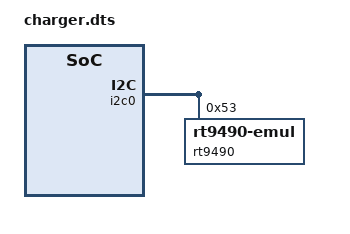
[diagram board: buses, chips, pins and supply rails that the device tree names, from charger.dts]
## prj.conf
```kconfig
# Copyright 2022 The ChromiumOS Authors.
# Use of this source code is governed by a BSD-style license that can be
# found in the LICENSE file.

CONFIG_EMUL_RT9490=y
CONFIG_PLATFORM_EC_BC12_SINGLE_DRIVER=n
CONFIG_PLATFORM_EC_CHARGER_OTG=y
CONFIG_PLATFORM_EC_CHARGER_RT9490=y
CONFIG_PLATFORM_EC_CHARGE_RAMP_HW=y
CONFIG_PLATFORM_EC_CONSOLE_CMD_CHARGER_DUMP=y
CONFIG_PLATFORM_EC_HOOKS=y
```

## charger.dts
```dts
/ {
	usbc {
		/delete-node/ port0@0;

		port0@0 {
			compatible = "named-usbc-port";
			status = "okay";
			reg = <0>;
			chg = <&rt9490>;
			bc12 = <&rt9490_bc12>;
			tcpc = <&tcpci_emul>;
		};
	};

	rt9490_bc12: rt9490-bc12 {
		compatible = "richtek,rt9490-bc12";
		status = "okay";
	};
};

&i2c0 {
	status="okay";

	rt9490: rt9490@53 {
		compatible = "zephyr,rt9490-emul";
		status = "okay";
		reg = <0x53>;
	};
};
```

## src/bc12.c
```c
/* Copyright 2022 The ChromiumOS Authors
 * Use of this source code is governed by a BSD-style license that can be
 * found in the LICENSE file.
 */

#include <zephyr/ztest.h>
#include <zephyr/fff.h>

#include "charger.h"
#include "charge_manager.h"
#include "driver/charger/rt9490.h"
#include "driver/tcpm/tcpci.h"
#include "emul/emul_rt9490.h"
#include "emul/tcpc/emul_tcpci.h"
#include "i2c.h"
#include "test/drivers/test_state.h"
#include "timer.h"
#include "usb_charge.h"

FAKE_VALUE_FUNC(int, board_tcpc_post_init, int);

static const struct emul *emul = EMUL_DT_GET(DT_NODELABEL(rt9490));
static const struct emul *tcpci_emul = EMUL_DT_GET(DT_NODELABEL(tcpci_emul));
static const int chgnum = CHARGER_SOLO;

static void run_bc12_test(int reg_value, enum charge_supplier expected_result)
{
	int port = 0;

	/* simulate plug, expect bc12 detection starting. */
	tcpci_emul_set_reg(tcpci_emul, TCPC_REG_POWER_STATUS,
			   TCPC_REG_POWER_STATUS_VBUS_PRES |
				   TCPC_REG_POWER_STATUS_VBUS_DET);

	/* This is the same as calling tcpc_config[port].drv->init(port) but
	 * also calls our board_tcpc_post_init_fake stub. During the init, the
	 * other tasks are also running and will at times also call the same
	 * function. So the verification just checks that the call count
	 * increased and that the first history element matches the port we
	 * provided.
	 */
	RESET_FAKE(board_tcpc_post_init);
	zassert_ok(tcpm_init(port));
	zassert_true(board_tcpc_post_init_fake.call_count > 0);
	zassert_equal(port, board_tcpc_post_init_fake.arg0_history[0]);

	zassert_true(tcpc_config[port].drv->check_vbus_level(port,
							     VBUS_PRESENT),
		     NULL);

	usb_charger_task_set_event(port, USB_CHG_EVENT_VBUS);
	msleep(1);
	zassert_true(rt9490_emul_peek_reg(emul, RT9490_REG_CHG_CTRL2) &
			     RT9490_BC12_EN,
		     NULL);

	/*
	 * simulate triggering interrupt on bc12 detection done, and verify the
	 * result.
	 */
	zassert_ok(rt9490_emul_write_reg(emul, RT9490_REG_CHG_IRQ_FLAG1,
					 RT9490_BC12_DONE_FLAG));
	zassert_ok(
		rt9490_emul_write_reg(emul, RT9490_REG_CHG_STATUS1, reg_value));
	rt9490_interrupt(port);
	/* wait for deferred task scheduled, this takes longer. */
	msleep(500);
	zassert_false(rt9490_emul_peek_reg(emul, RT9490_REG_CHG_CTRL2) &
			      RT9490_BC12_EN,
		      NULL);
	zassert_equal(charge_manager_get_supplier(), expected_result, NULL);

	/* simulate unplug */
	tcpci_emul_set_reg(tcpci_emul, TCPC_REG_POWER_STATUS,
			   TCPC_REG_POWER_STATUS_VBUS_DET);
	zassert_ok(tcpc_config[port].drv->init(port), NULL);
	zassert_false(tcpc_config[port].drv->check_vbus_level(port,
							      VBUS_PRESENT),
		      NULL);

	usb_charger_task_set_event(port, USB_CHG_EVENT_VBUS);
	msleep(1);
	zassert_equal(charge_manager_get_supplier(), CHARGE_SUPPLIER_NONE,
		      NULL);
}

ZTEST(rt9490_bc12, test_detection_flow)
{
	int port = 0;

	/* make charge manager thinks port 0 is chargable */
	msleep(500);
	usb_charger_task_set_event(port, USB_CHG_EVENT_DR_UFP);
	charge_manager_update_dualrole(port, CAP_DEDICATED);
	zassert_equal(charge_manager_get_supplier(), CHARGE_SUPPLIER_NONE,
		      NULL);
	msleep(1);

	printk("1\n");
	run_bc12_test(RT9490_DCP << RT9490_VBUS_STAT_SHIFT,
		      CHARGE_SUPPLIER_BC12_DCP);
	printk("2\n");
	run_bc12_test(RT9490_CDP << RT9490_VBUS_STAT_SHIFT,
		      CHARGE_SUPPLIER_BC12_CDP);
	printk("3\n");
	run_bc12_test(RT9490_SDP << RT9490_VBUS_STAT_SHIFT,
		      CHARGE_SUPPLIER_BC12_SDP);
	printk("4\n");
	run_bc12_test(0xA, CHARGE_SUPPLIER_VBUS); /* unknown type */
}

static void reset_emul(void *fixture)
{
	rt9490_emul_reset_regs(emul);
	rt9490_drv.init(chgnum);
}

ZTEST_SUITE(rt9490_bc12, drivers_predicate_post_main, NULL, reset_emul, NULL,
	    NULL);
```

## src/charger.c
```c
/* Copyright 2022 The ChromiumOS Authors
 * Use of this source code is governed by a BSD-style license that can be
 * found in the LICENSE file.
 */

#include "battery_fuel_gauge.h"
#include "battery_smart.h"
#include "charger.h"
#include "driver/charger/rt9490.h"
#include "emul/emul_rt9490.h"
#include "i2c.h"

#include <zephyr/ztest.h>

static const struct emul *emul = EMUL_DT_GET(DT_NODELABEL(rt9490));
static const int chgnum = CHARGER_SOLO;

ZTEST(rt9490_chg, test_current)
{
	struct {
		int reg;
		int expected; /* expected current in mA */
	} testdata[] = { { 0xF, 150 },	 { 0x10, 160 },	  { 0x64, 1000 },
			 { 0xC8, 2000 }, { 0x1F3, 4990 }, { 0x1F4, 5000 } };

	for (int i = 0; i < ARRAY_SIZE(testdata); i++) {
		int current = -1;

		zassert_ok(rt9490_drv.set_current(chgnum, testdata[i].expected),
			   "case %d failed", i);
		zassert_equal(rt9490_emul_peek_reg(emul, RT9490_REG_ICHG_CTRL),
			      testdata[i].reg >> 8, "case %d failed", i);
		zassert_equal(rt9490_emul_peek_reg(emul,
						   RT9490_REG_ICHG_CTRL + 1),
			      testdata[i].reg & 0xFF, "case %d failed", i);

		zassert_ok(rt9490_drv.get_current(chgnum, &current),
			   "case %d failed", i);
		zassert_equal(testdata[i].expected, current, "case %d failed",
			      i);
	}

	/* special case: set_current(0) means 150mA */
	zassert_ok(rt9490_drv.set_current(chgnum, 0), NULL);
	zassert_equal(rt9490_emul_peek_reg(emul, RT9490_REG_ICHG_CTRL), 0,
		      NULL);
	zassert_equal(rt9490_emul_peek_reg(emul, RT9490_REG_ICHG_CTRL + 1), 0xF,
		      NULL);

	/* values outside (150mA, 5000mA) are illegal */
	zassert_not_equal(rt9490_drv.set_current(chgnum, 140), 0, NULL);
	zassert_not_equal(rt9490_drv.set_current(chgnum, 5001), 0, NULL);
}

ZTEST(rt9490_chg, test_voltage)
{
	struct {
		int reg;
		int expected; /* expected voltage in mV */
	} testdata[] = { { 0x12C, 3000 },  { 0x12D, 3010 },  { 0x12E, 3020 },
			 { 0x1A4, 4200 },  { 0x348, 8400 },  { 0x4EC, 12600 },
			 { 0x690, 16800 }, { 0x757, 18790 }, { 0x758, 18800 } };

	for (int i = 0; i < ARRAY_SIZE(testdata); i++) {
		int voltage = -1;

		zassert_ok(rt9490_drv.set_voltage(chgnum, testdata[i].expected),
			   "case %d failed", i);
		zassert_equal(rt9490_emul_peek_reg(emul, RT9490_REG_VCHG_CTRL),
			      testdata[i].reg >> 8, "case %d failed", i);
		zassert_equal(rt9490_emul_peek_reg(emul,
						   RT9490_REG_VCHG_CTRL + 1),
			      testdata[i].reg & 0xFF, "case %d failed", i);

		zassert_ok(rt9490_drv.get_voltage(chgnum, &voltage),
			   "case %d failed", i);
		zassert_equal(testdata[i].expected, voltage, "case %d failed",
			      i);
	}

	/* special case: set_voltage(0) means 3.0V */
	zassert_ok(rt9490_drv.set_voltage(chgnum, 0), NULL);
	zassert_equal(rt9490_emul_peek_reg(emul, RT9490_REG_VCHG_CTRL), 0x1,
		      NULL);
	zassert_equal(rt9490_emul_peek_reg(emul, RT9490_REG_VCHG_CTRL + 1),
		      0x2C, NULL);

	/* values outside (3V, 18.8V) are illegal */
	zassert_not_equal(rt9490_drv.set_voltage(chgnum, 2999), 0, NULL);
	zassert_not_equal(rt9490_drv.set_voltage(chgnum, 18801), 0, NULL);
}

ZTEST(rt9490_chg, test_otg)
{
	struct {
		int reg_v, reg_c, expected_v, expected_c;
	} testdata[] = { { 0x0, 0x3, 2800, 120 },
			 { 0x1, 0x4, 2810, 160 },
			 { 0xDC, 0x4B, 5000, 3000 },
			 { 0x77F, 0x52, 21990, 3280 },
			 { 0x780, 0x53, 22000, 3320 } };

	for (int i = 0; i < ARRAY_SIZE(testdata); i++) {
		zassert_ok(rt9490_drv.set_otg_current_voltage(
				   chgnum, testdata[i].expected_c,
				   testdata[i].expected_v),
			   "case %d failed", i);
		zassert_equal(rt9490_emul_peek_reg(emul, RT9490_REG_VOTG_REGU),
			      testdata[i].reg_v >> 8, "case %d failed", i);
		zassert_equal(rt9490_emul_peek_reg(emul,
						   RT9490_REG_VOTG_REGU + 1),
			      testdata[i].reg_v & 0xFF, "case %d failed", i);
		zassert_equal(rt9490_emul_peek_reg(emul, RT9490_REG_IOTG_REGU),
			      testdata[i].reg_c, "case %d failed", i);
		break;
	}

	/* check out-of-range inputs */
	zassert_not_equal(rt9490_drv.set_otg_current_voltage(chgnum, 119, 5000),
			  0, NULL);
	zassert_not_equal(rt9490_drv.set_otg_current_voltage(chgnum, 3330,
							     5000),
			  0, NULL);
	zassert_not_equal(rt9490_drv.set_otg_current_voltage(chgnum, 3000,
							     2700),
			  0, NULL);
	zassert_not_equal(rt9490_drv.set_otg_current_voltage(chgnum, 3000,
							     23000),
			  0, NULL);

	/* check enable/disable functions */
	zassert_equal(rt9490_drv.enable_otg_power(chgnum, true), 0, NULL);
	zassert_equal(rt9490_drv.is_sourcing_otg_power(chgnum, 0), true, NULL);
	zassert_equal(rt9490_drv.enable_otg_power(chgnum, false), 0, NULL);
	zassert_equal(rt9490_drv.is_sourcing_otg_power(chgnum, 0), false, NULL);
}

ZTEST(rt9490_chg, test_aicr)
{
	struct {
		int reg;
		int expected; /* expected current in mA */
	} testdata[] = { { 0xA, 100 },
			 { 0xB, 110 },
			 { 0x32, 500 },
			 { 0x12C, 3000 },
			 { 0x14A, 3300 } };
	int current = -1;

	for (int i = 0; i < ARRAY_SIZE(testdata); i++) {
		zassert_ok(rt9490_drv.set_input_current_limit(

				   chgnum, testdata[i].expected),
			   "case %d failed", i);
		zassert_equal(rt9490_emul_peek_reg(emul, RT9490_REG_AICR_CTRL),
			      testdata[i].reg >> 8, "case %d failed", i);
		zassert_equal(rt9490_emul_peek_reg(emul,
						   RT9490_REG_AICR_CTRL + 1),
			      testdata[i].reg & 0xFF, "case %d failed", i);

		zassert_ok(rt9490_drv.get_input_current_limit(chgnum, &current),
			   "case %d failed", i);
		zassert_equal(testdata[i].expected, current, "case %d failed",
			      i);
	}

	/*
	 * test values outside the designed range.
	 * returns 100mA if input < 100mA, and 3300mA if greater than 3300mA.
	 */
	zassert_ok(rt9490_drv.set_input_current_limit(chgnum, 90), NULL);
	zassert_ok(rt9490_drv.get_input_current_limit(chgnum, &current), "");
	zassert_equal(100, current, "");

	zassert_ok(rt9490_drv.set_input_current_limit(chgnum, 3400), NULL);
	zassert_ok(rt9490_drv.get_input_current_limit(chgnum, &current), "");
	zassert_equal(3300, current, "");
}

ZTEST(rt9490_chg, test_charge_ramp_hw_ramp)
{
	zassert_ok(rt9490_drv.set_hw_ramp(chgnum, 1), NULL);
	zassert_true(rt9490_emul_peek_reg(emul, RT9490_REG_CHG_CTRL0) &
			     RT9490_EN_AICC,
		     NULL);

	zassert_ok(rt9490_drv.ramp_is_stable(chgnum), NULL);
	zassert_true(rt9490_drv.ramp_is_detected(chgnum), NULL);

	zassert_ok(rt9490_drv.set_input_current_limit(chgnum, 500), NULL);
	zassert_equal(500, rt9490_drv.ramp_get_current_limit(chgnum), NULL);

	zassert_ok(rt9490_drv.set_hw_ramp(chgnum, 0), NULL);
	zassert_false(rt9490_emul_peek_reg(emul, RT9490_REG_CHG_CTRL0) &
			      RT9490_EN_AICC,
		      NULL);
}

ZTEST(rt9490_chg, test_option)
{
	int opt;

	zassert_ok(rt9490_drv.get_option(CHARGER_NUM, &opt), NULL);
	zassert_true(opt == 0, NULL);
	zassert_ok(rt9490_drv.set_option(CHARGER_NUM, 5566), NULL);
	zassert_ok(rt9490_drv.get_option(CHARGER_NUM, &opt), NULL);
	zassert_true(opt == 0, NULL);
}

ZTEST(rt9490_chg, test_misc_info)
{
	int status;
	int device_id;

	rt9490_drv.dump_registers(chgnum);

	zassert_ok(rt9490_drv.device_id(chgnum, &device_id), NULL);
	zassert_equal((device_id >> 3) & 0xF, 0xC, NULL);

	zassert_ok(rt9490_drv.get_status(chgnum, &status), NULL);
	zassert_equal(status, 0, NULL);

	/* check the mapping from jeita status to smart battery charger status
	 */
	zassert_ok(rt9490_emul_write_reg(emul, RT9490_REG_CHG_STATUS4,
					 RT9490_JEITA_HOT_MASK));
	zassert_ok(rt9490_drv.get_status(chgnum, &status), NULL);
	zassert_equal(status, CHARGER_RES_HOT | CHARGER_RES_OR, NULL);

	zassert_ok(rt9490_emul_write_reg(emul, RT9490_REG_CHG_STATUS4,
					 RT9490_JEITA_WARM_MASK));
	zassert_ok(rt9490_drv.get_status(chgnum, &status), NULL);
	zassert_equal(status, CHARGER_RES_HOT, NULL);

	zassert_ok(rt9490_emul_write_reg(emul, RT9490_REG_CHG_STATUS4,
					 RT9490_JEITA_COOL_MASK));
	zassert_ok(rt9490_drv.get_status(chgnum, &status), NULL);
	zassert_equal(status, CHARGER_RES_COLD, NULL);

	zassert_ok(rt9490_emul_write_reg(emul, RT9490_REG_CHG_STATUS4,
					 RT9490_JEITA_COLD_MASK));
	zassert_ok(rt9490_drv.get_status(chgnum, &status), NULL);
	zassert_equal(status, CHARGER_RES_COLD | CHARGER_RES_UR, NULL);
}

static void *rt9490_chg_setup(void)
{
	init_battery_type();
	return NULL;
}

static void reset_emul(void *fixture)
{
	rt9490_emul_reset_regs(emul);
	rt9490_drv.init(chgnum);
}

ZTEST_SUITE(rt9490_chg, NULL, rt9490_chg_setup, reset_emul, NULL, NULL);
```
